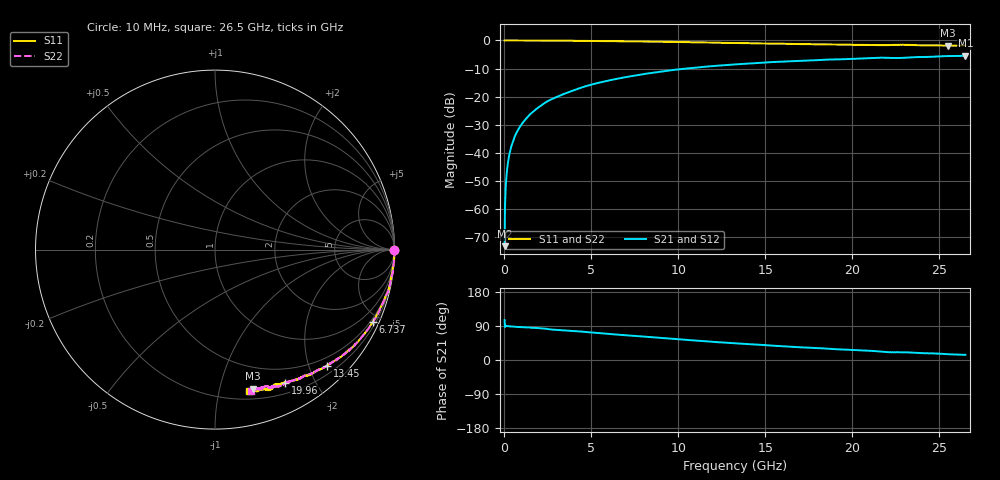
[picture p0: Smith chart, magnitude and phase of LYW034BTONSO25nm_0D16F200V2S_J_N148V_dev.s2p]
!Keysight Technologies,N5222B,MY61253708,A.15.00.15
!Date: Wednesday, June 19, 2024 10:09:18
!Correction: S11(C  2-Port  )
!S21(C  2-Port  )
!S12(C  2-Port  )
!S22(C  2-Port  )
!S2P File: Measurements: S11, S21, S12, S22:
# Hz S  RI  R 50
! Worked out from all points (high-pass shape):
!   2651 points, 10 MHz to 26.5 GHz, reference 50 ohm
!   highest |S21| = -5.41 dB at 26.5 GHz (marker M1); lowest = -73.4 dB at 10 MHz (marker M2)
!   |S21| within 3 dB of the highest: 13.57 GHz to end of sweep
!   lowest |S11| = -1.9 dB at 25.5 GHz (marker M3), VSWR 9.17, Z = 14.5 - j63.2 ohm
!   |S11| at or under -10 dB: nowhere
!   |S22| runs from -1.9 to 0.0 dB; largest |S21 - S12| = 0.0059
!   S11 on the Smith chart (normalised r, x): 10 MHz: open; 6.737 GHz: 0.36, -4.59; 13.45 GHz: 0.34, -2.32; 19.96 GHz: 0.32, -1.61; 26.5 GHz: 0.27, -1.23
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1e7  0.9983 -0.00296  -5.65e-05 0.000207  -9.27e-05 0.000385  0.9983 -0.00171
7.997358e7  1 -0.00573  2.52e-05 0.00261  -3.19e-05 0.00261  0.9994 -0.00528
1.499472e8  1 -0.0106  4.37e-05 0.00489  2.79e-05 0.00493  0.9996 -0.0101
1.899321e8  1 -0.0126  7.88e-05 0.00622  9.64e-05 0.00627  0.9998 -0.0119
2.399132e8  0.9997 -0.0163  0.00013 0.00784  0.000114 0.0079  0.9994 -0.0156
3.398755e8  0.9997 -0.0228  0.000292 0.0111  0.000217 0.0112  0.9995 -0.0218
4.598302e8  0.9989 -0.0309  0.000449 0.015  0.00044 0.0151  0.9988 -0.0301
6.197698e8  0.9991 -0.0408  0.000826 0.0202  0.000822 0.0203  0.9989 -0.0404
8.096981e8  0.9982 -0.0533  0.00135 0.0263  0.00134 0.0264  0.9977 -0.0525
1.43946e9  0.9911 -0.0957  0.00325 0.0469  0.0033 0.047  0.9934 -0.0926
2.309132e9  0.9831 -0.1487  0.0094 0.0761  0.00961 0.0764  0.9841 -0.1495
3.198796e9  0.9724 -0.2046  0.0204 0.1024  0.0206 0.1029  0.9718 -0.2043
4.428332e9  0.9442 -0.2775  0.0374 0.14  0.0377 0.1406  0.9456 -0.2751
6.73746e9  0.8812 -0.4008  0.0872 0.1966  0.0882 0.1971  0.8823 -0.4007
8.846664e9  0.8077 -0.4983  0.1421 0.2351  0.1433 0.2353  0.8087 -0.4974
1.3255e10  0.634 -0.6395  0.2682 0.2605  0.27 0.26  0.6368 -0.6386
1.345492e10  0.6261 -0.6471  0.2738 0.2606  0.2755 0.2592  0.6268 -0.6437
1.767333e10  0.4636 -0.7209  0.3744 0.2343  0.3771 0.2324  0.4723 -0.7188
1.996247e10  0.3903 -0.7413  0.4186 0.2105  0.4208 0.2081  0.4021 -0.7387
2.209166e10  0.3285 -0.7559  0.4577 0.1735  0.4589 0.1703  0.3204 -0.7617
2.550038e10  0.209 -0.7756  0.5076 0.1377  0.5084 0.137  0.228 -0.7774
2.65e10  0.1894 -0.7893  0.5211 0.1264  0.52 0.1225  0.2016 -0.7871
